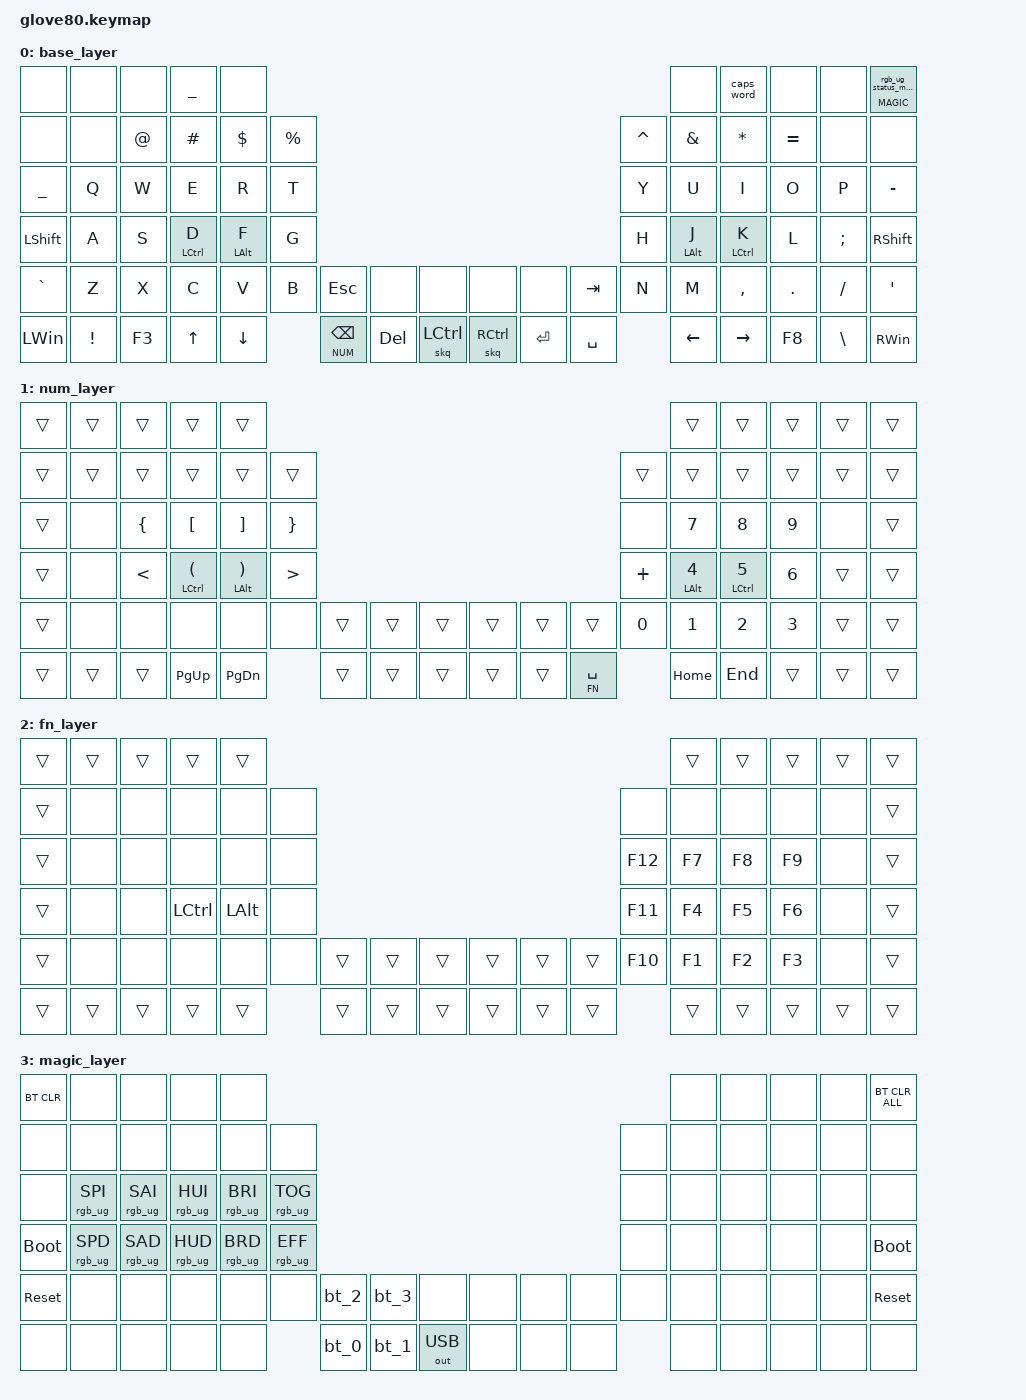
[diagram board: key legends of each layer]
/*
 * Copyright (c) 2020 The ZMK Contributors
 *
 * SPDX-License-Identifier: MIT
 */

#include <behaviors.dtsi>
#include <dt-bindings/zmk/keys.h>
#include <dt-bindings/zmk/bt.h>
#include <dt-bindings/zmk/ext_power.h>
#include <dt-bindings/zmk/outputs.h>
#include <dt-bindings/zmk/rgb.h>
#include "custom_behaviors.dtsi"

#define HYPER LC(LS(LG(LALT)))

#define BASE 0
#define NUM 1
#define FN 2
#define MAGIC 3

/ {
    behaviors {
        magic: magic_hold_tap {
            compatible = "zmk,behavior-hold-tap";
            label = "MAGIC_HOLD_TAP";
            #binding-cells = <2>;
            flavor = "tap-preferred";
            tapping-term-ms = <200>;
            bindings = <&mo>, <&rgb_ug_status_macro>;
        };
    };

    macros {
        rgb_ug_status_macro: rgb_ug_status_macro_0 {
            label = "RGB_UG_STATUS";
            compatible = "zmk,behavior-macro";
            #binding-cells = <0>;
            bindings
                = <&rgb_ug RGB_STATUS>;
        };

        bt_0: bt_profile_macro_0 {
            label = "BT_0";
            compatible = "zmk,behavior-macro";
            #binding-cells = <0>;
            bindings
                = <&out OUT_BLE>,
                  <&bt BT_SEL 0>;
        };

        bt_1: bt_profile_macro_1 {
            label = "BT_1";
            compatible = "zmk,behavior-macro";
            #binding-cells = <0>;
            bindings
                = <&out OUT_BLE>,
                  <&bt BT_SEL 1>;
        };

        bt_2: bt_profile_macro_2 {
            label = "BT_2";
            compatible = "zmk,behavior-macro";
            #binding-cells = <0>;
            bindings
                = <&out OUT_BLE>,
                  <&bt BT_SEL 2>;
        };

        bt_3: bt_profile_macro_3 {
            label = "BT_3";
            compatible = "zmk,behavior-macro";
            #binding-cells = <0>;
            bindings
                = <&out OUT_BLE>,
                  <&bt BT_SEL 3>;
        };
    };

    combos {
      compatible = "zmk,combos";

      // Home: J + K
      combo_home {
          timeout-ms = <50>;
          key-positions = <41 42>;
          bindings = <&kp HOME>;
      };

      // End: J + L
      combo_end {
          timeout-ms = <50>;
          key-positions = <41 43>;
          bindings = <&kp END>;
      };

      // Page Up: U + I
      combo_pg_up {
          timeout-ms = <25>;
          key-positions = <29 30>;
          bindings = <&kp PG_UP>;
      };

     // Page Down: M + ,
      combo_pg_dn {
          timeout-ms = <50>;
          key-positions = <59 60>;
          bindings = <&kp PG_DN>;
      };

      // Caps Word: C + ,
      combo_caps_word {
          timeout-ms = <50>;
          key-positions = <49 60>;
          bindings = <&caps_word>;
      };

    };

    keymap {
        compatible = "zmk,keymap";

        base_layer {
            bindings = <
// |------------------|------------------|------------------|------------------|------------------|                                                                                                                                                       |------------------|------------------|------------------|------------------|------------------|
    &none              &none              &none              &kp UNDER          &none                                                                                                                                                                      &none              &caps_word         &none              &none              &magic MAGIC 0
// |------------------|------------------|------------------|------------------|------------------|------------------|                                                                                                                 |------------------|------------------|------------------|------------------|------------------|------------------|
    &none              &none              &kp AT             &kp HASH           &kp DOLLAR         &kp PERCENT                                                                                                                          &kp CARET          &kp AMPERSAND      &kp ASTERISK       &kp EQUAL          &none              &none
// |------------------|------------------|------------------|------------------|------------------|------------------|                                                                                                                 |------------------|------------------|------------------|------------------|------------------|------------------|
    &kp UNDER          &kp Q              &kp W              &kp E              &kp R              &kp T                                                                                                                                &kp Y              &kp U              &kp I              &kp O              &kp P              &kp MINUS
// |------------------|------------------|------------------|------------------|------------------|------------------|                                                                                                                 |------------------|------------------|------------------|------------------|------------------|------------------|
    &kp LSHFT          &kp A              &kp S              &hm_l LCTRL D      &hm_l LALT F       &kp G                                                                                                                                &kp H              &hm_r LALT J       &hm_r LCTRL K      &kp L              &kp SEMI           &kp RSHFT
// |------------------|------------------|------------------|------------------|------------------|------------------|------------------|------------------|------------------|------------------|------------------|------------------|------------------|------------------|------------------|------------------|------------------|------------------|
    &kp GRAVE          &kp Z              &kp X              &kp C              &kp V              &kp B              &kp ESC            &none              &none              &none              &none              &kp TAB            &kp N              &kp M              &kp COMMA          &kp DOT            &kp FSLH           &kp SQT
// |------------------|------------------|------------------|------------------|------------------|------------------|------------------|------------------|------------------|------------------|------------------|------------------|------------------|------------------|------------------|------------------|------------------|------------------|
    &kp LWIN           &kp EXCL           &kp F3             &kp UP             &kp DOWN                              &lt NUM BSPC       &kp DEL            &skq LCTRL         &skq RCTRL         &kp RET            &kp SPACE                             &kp LEFT           &kp RIGHT          &kp F8             &kp BSLH           &kp RWIN
// |------------------|------------------|------------------|------------------|------------------|                  |------------------|------------------|------------------|------------------|------------------|------------------|                  |------------------|------------------|------------------|------------------|------------------|
            >;
        };

        num_layer {
            bindings = <
// |------------------|------------------|------------------|------------------|------------------|                                                                                                                                                       |------------------|------------------|------------------|------------------|------------------|
    &trans             &trans             &trans             &trans             &trans                                                                                                                                                                     &trans             &trans             &trans             &trans             &trans
// |------------------|------------------|------------------|------------------|------------------|------------------|                                                                                                                 |------------------|------------------|------------------|------------------|------------------|------------------|
    &trans             &trans             &trans             &trans             &trans             &trans                                                                                                                               &trans             &trans             &trans             &trans             &trans             &trans
// |------------------|------------------|------------------|------------------|------------------|------------------|                                                                                                                 |------------------|------------------|------------------|------------------|------------------|------------------|
    &trans             &none              &kp LEFT_BRACE     &kp LEFT_BRACKET   &kp RIGHT_BRACKET  &kp RIGHT_BRACE                                                                                                                      &none              &kp N7             &kp N8             &kp N9             &none              &trans
// |------------------|------------------|------------------|------------------|------------------|------------------|                                                                                                                 |------------------|------------------|------------------|------------------|------------------|------------------|
    &trans             &none              &kp LESS_THAN      &hm_l LCTRL LPAR   &hm_l LALT RPAR    &kp GREATER_THAN                                                                                                                     &kp PLUS           &hm_r LALT N4      &hm_r LCTRL N5     &kp N6             &trans             &trans
// |------------------|------------------|------------------|------------------|------------------|------------------|------------------|------------------|------------------|------------------|------------------|------------------|------------------|------------------|------------------|------------------|------------------|------------------|
    &trans             &none              &none              &none              &none              &none              &trans             &trans             &trans             &trans             &trans             &trans             &kp N0             &kp N1             &kp N2             &kp N3             &trans             &trans
// |------------------|------------------|------------------|------------------|------------------|------------------|------------------|------------------|------------------|------------------|------------------|------------------|------------------|------------------|------------------|------------------|------------------|------------------|
    &trans             &trans             &trans             &kp PG_UP          &kp PG_DN                             &trans             &trans             &trans             &trans             &trans             &lt FN SPACE                          &kp HOME           &kp END            &trans             &trans             &trans
// |------------------|------------------|------------------|------------------|------------------|                  |------------------|------------------|------------------|------------------|------------------|------------------|                  |------------------|------------------|------------------|------------------|------------------|
            >;
        };

        fn_layer {
            bindings = <
// |------------------|------------------|------------------|------------------|------------------|                                                                                                                                                       |------------------|------------------|------------------|------------------|------------------|
    &trans             &trans             &trans             &trans             &trans                                                                                                                                                                     &trans             &trans             &trans             &trans             &trans
// |------------------|------------------|------------------|------------------|------------------|------------------|                                                                                                                 |------------------|------------------|------------------|------------------|------------------|------------------|
    &trans             &none              &none              &none              &none              &none                                                                                                                                &none              &none              &none              &none              &none              &trans
// |------------------|------------------|------------------|------------------|------------------|------------------|                                                                                                                 |------------------|------------------|------------------|------------------|------------------|------------------|
    &trans             &none              &none              &none              &none              &none                                                                                                                                &kp F12            &kp F7             &kp F8             &kp F9             &none              &trans
// |------------------|------------------|------------------|------------------|------------------|------------------|                                                                                                                 |------------------|------------------|------------------|------------------|------------------|------------------|
    &trans             &none              &none              &kp LCTRL          &kp LALT           &none                                                                                                                                &kp F11            &kp F4             &kp F5             &kp F6             &none              &trans
// |------------------|------------------|------------------|------------------|------------------|------------------|------------------|------------------|------------------|------------------|------------------|------------------|------------------|------------------|------------------|------------------|------------------|------------------|
    &trans             &none              &none              &none              &none              &none              &trans             &trans             &trans             &trans             &trans             &trans             &kp F10            &kp F1             &kp F2             &kp F3             &none              &trans
// |------------------|------------------|------------------|------------------|------------------|------------------|------------------|------------------|------------------|------------------|------------------|------------------|------------------|------------------|------------------|------------------|------------------|------------------|
    &trans             &trans             &trans             &trans             &trans                                &trans             &trans             &trans             &trans             &trans             &trans                                &trans             &trans             &trans             &trans             &trans
// |------------------|------------------|------------------|------------------|------------------|                  |------------------|------------------|------------------|------------------|------------------|------------------|                  |------------------|------------------|------------------|------------------|------------------|
            >;
        };

        magic_layer {
            bindings = <
// |------------------|------------------|------------------|------------------|------------------|                                                                                                                                                       |------------------|------------------|------------------|------------------|------------------|
    &bt BT_CLR         &none              &none              &none              &none                                                                                                                                                                      &none              &none              &none              &none              &bt BT_CLR_ALL
// |------------------|------------------|------------------|------------------|------------------|------------------|                                                                                                                 |------------------|------------------|------------------|------------------|------------------|------------------|
    &none              &none              &none              &none              &none              &none                                                                                                                                &none              &none              &none              &none              &none              &none
// |------------------|------------------|------------------|------------------|------------------|------------------|                                                                                                                 |------------------|------------------|------------------|------------------|------------------|------------------|
    &none              &rgb_ug RGB_SPI    &rgb_ug RGB_SAI    &rgb_ug RGB_HUI    &rgb_ug RGB_BRI    &rgb_ug RGB_TOG                                                                                                                      &none              &none              &none              &none              &none              &none
// |------------------|------------------|------------------|------------------|------------------|------------------|                                                                                                                 |------------------|------------------|------------------|------------------|------------------|------------------|
    &bootloader        &rgb_ug RGB_SPD    &rgb_ug RGB_SAD    &rgb_ug RGB_HUD    &rgb_ug RGB_BRD    &rgb_ug RGB_EFF                                                                                                                      &none              &none              &none              &none              &none              &bootloader
// |------------------|------------------|------------------|------------------|------------------|------------------|------------------|------------------|------------------|------------------|------------------|------------------|------------------|------------------|------------------|------------------|------------------|------------------|
    &sys_reset         &none              &none              &none              &none              &none              &bt_2              &bt_3              &none              &none              &none              &none              &none              &none              &none              &none              &none              &sys_reset
// |------------------|------------------|------------------|------------------|------------------|------------------|------------------|------------------|------------------|------------------|------------------|------------------|------------------|------------------|------------------|------------------|------------------|------------------|
    &none              &none              &none              &none              &none                                 &bt_0              &bt_1              &out OUT_USB       &none              &none              &none                                 &none              &none              &none              &none              &none
// |------------------|------------------|------------------|------------------|------------------|                  |------------------|------------------|------------------|------------------|------------------|------------------|                  |------------------|------------------|------------------|------------------|------------------|
            >;
        };

    };
};
